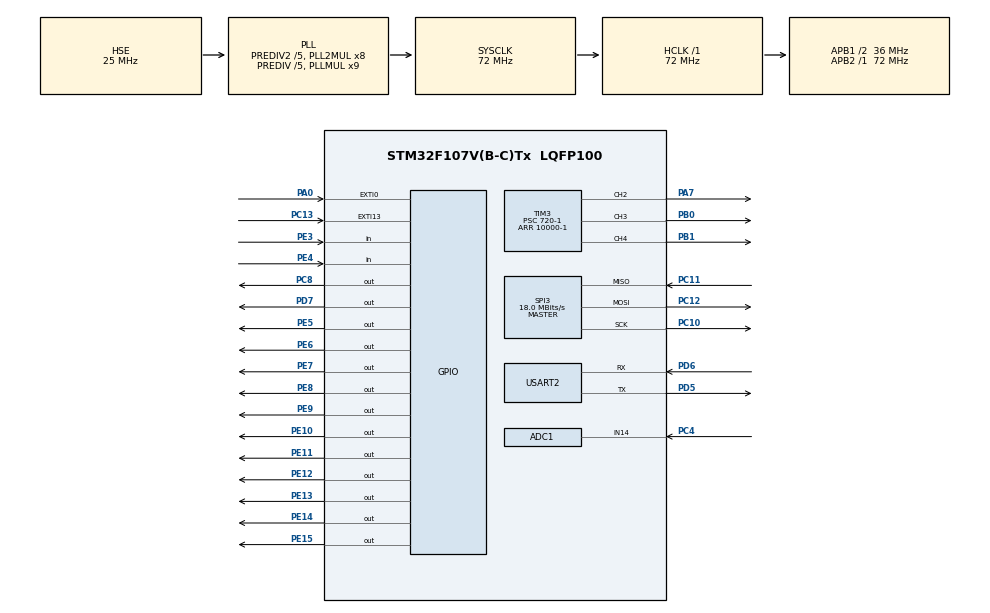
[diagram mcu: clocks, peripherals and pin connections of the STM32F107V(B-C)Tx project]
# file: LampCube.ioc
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ADC1.Channel-0\#ChannelRegularConversion=ADC_CHANNEL_14
ADC1.ContinuousConvMode=ENABLE
ADC1.NbrOfConversionFlag=1
ADC1.Rank-0\#ChannelRegularConversion=1
ADC1.SamplingTime-0\#ChannelRegularConversion=ADC_SAMPLETIME_1CYCLE_5
ADC1.master=1
Mcu.Family=STM32F1
Mcu.Name=STM32F107V(B-C)Tx
Mcu.Package=LQFP100
NVIC.EXTI0_IRQn=true\:0\:0\:true\:false\:true\:true
NVIC.EXTI15_10_IRQn=true\:1\:0\:true\:false\:true\:true
NVIC.PriorityGroup=NVIC_PRIORITYGROUP_4
OSC_IN.Mode=HSE-External-Oscillator
OSC_IN.Signal=RCC_OSC_IN
OSC_OUT.Mode=HSE-External-Oscillator
OSC_OUT.Signal=RCC_OSC_OUT
PA0-WKUP.Signal=GPXTI0
PA7.GPIO_Speed=GPIO_SPEED_FREQ_HIGH
PA7.Signal=S_TIM3_CH2
PB0.GPIO_Speed=GPIO_SPEED_FREQ_HIGH
PB0.Signal=S_TIM3_CH3
PB1.GPIO_Speed=GPIO_SPEED_FREQ_HIGH
PB1.Signal=S_TIM3_CH4
PC10.Mode=Full_Duplex_Master
PC10.Signal=SPI3_SCK
PC11.Mode=Full_Duplex_Master
PC11.Signal=SPI3_MISO
PC12.Mode=Full_Duplex_Master
PC12.Signal=SPI3_MOSI
PC13-TAMPER-RTC.Signal=GPXTI13
PC4.Signal=ADCx_IN14
PC8.Signal=GPIO_Output
PD5.Mode=Asynchronous
PD5.Signal=USART2_TX
PD6.Mode=Asynchronous
PD6.Signal=USART2_RX
PD7.Signal=GPIO_Output
PE10.GPIO_Speed=GPIO_SPEED_FREQ_HIGH
PE10.Signal=GPIO_Output
PE11.GPIO_Speed=GPIO_SPEED_FREQ_HIGH
PE11.Signal=GPIO_Output
PE12.GPIO_Speed=GPIO_SPEED_FREQ_HIGH
PE12.Signal=GPIO_Output
PE13.GPIO_Speed=GPIO_SPEED_FREQ_HIGH
PE13.Signal=GPIO_Output
PE14.GPIO_Speed=GPIO_SPEED_FREQ_HIGH
PE14.Signal=GPIO_Output
PE15.GPIO_Speed=GPIO_SPEED_FREQ_HIGH
PE15.Signal=GPIO_Output
PE3.Signal=GPIO_Input
PE4.Signal=GPIO_Input
PE5.Signal=GPIO_Output
PE6.Signal=GPIO_Output
PE7.Signal=GPIO_Output
PE8.GPIO_Speed=GPIO_SPEED_FREQ_HIGH
PE8.Signal=GPIO_Output
PE9.GPIO_Speed=GPIO_SPEED_FREQ_HIGH
PE9.Signal=GPIO_Output
ProjectManager.HeapSize=0x200
ProjectManager.StackSize=0x400
ProjectManager.TargetToolchain=MDK-ARM V5
RCC.ADCPresc=RCC_ADCPCLK2_DIV6
RCC.AHBFreq_Value=72000000
RCC.APB1CLKDivider=RCC_HCLK_DIV2
RCC.APB1Freq_Value=36000000
RCC.APB1TimFreq_Value=72000000
RCC.APB2Freq_Value=72000000
RCC.APB2TimFreq_Value=72000000
RCC.HCLKFreq_Value=72000000
RCC.HSEDivPLL=RCC_HSE_PREDIV_DIV5
RCC.HSE_VALUE=25000000
RCC.PLLMUL=RCC_PLL_MUL9
RCC.PLLSourceVirtual=RCC_PLLSOURCE_HSE
RCC.Prediv1Source=RCC_PREDIV1_SOURCE_PLL2
RCC.Prediv2=RCC_HSE_PREDIV2_DIV5
RCC.SYSCLKFreq_VALUE=72000000
RCC.SYSCLKSource=RCC_SYSCLKSOURCE_PLLCLK
RCC.USBFreq_Value=48000000
SH.ADCx_IN14.0=ADC1_IN14,IN14
SH.S_TIM3_CH2.0=TIM3_CH2,PWM Generation2 CH2
SH.S_TIM3_CH3.0=TIM3_CH3,PWM Generation3 CH3
SH.S_TIM3_CH4.0=TIM3_CH4,PWM Generation4 CH4
SPI3.CLKPhase=SPI_PHASE_2EDGE
SPI3.CLKPolarity=SPI_POLARITY_HIGH
SPI3.CalculateBaudRate=18.0 MBits/s
SPI3.Direction=SPI_DIRECTION_2LINES
SPI3.Mode=SPI_MODE_MASTER
SPI3.VirtualType=VM_MASTER
TIM3.Channel-PWM\ Generation2\ CH2=TIM_CHANNEL_2
TIM3.Channel-PWM\ Generation3\ CH3=TIM_CHANNEL_3
TIM3.Channel-PWM\ Generation4\ CH4=TIM_CHANNEL_4
TIM3.Period=10000-1
TIM3.Prescaler=720-1
TIM3.Pulse-PWM\ Generation2\ CH2=(10000-1)/2
TIM3.Pulse-PWM\ Generation3\ CH3=(10000-1)/2
TIM3.Pulse-PWM\ Generation4\ CH4=(10000-1)/2
USART2.VirtualMode=VM_ASYNC
VP_SYS_VS_ND.Mode=No_Debug
VP_TIM3_VS_ClockSourceINT.Mode=Internal
board=LampCube

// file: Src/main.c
/**
  ******************************************************************************
  * File Name          : main.c
  * Description        : Main program body
  ******************************************************************************
  ** This notice applies to any and all portions of this file
  * that are not between comment pairs USER CODE BEGIN and
  * USER CODE END. Other portions of this file, whether
  * inserted by the user or by software development tools
  * are owned by their respective copyright owners.
  *
  * COPYRIGHT(c) 2018 STMicroelectronics
  *
  * Redistribution and use in source and binary forms, with or without modification,
  * are permitted provided that the following conditions are met:
  *   1. Redistributions of source code must retain the above copyright notice,
  *      this list of conditions and the following disclaimer.
  *   2. Redistributions in binary form must reproduce the above copyright notice,
  *      this list of conditions and the following disclaimer in the documentation
  *      and/or other materials provided with the distribution.
  *   3. Neither the name of STMicroelectronics nor the names of its contributors
  *      may be used to endorse or promote products derived from this software
  *      without specific prior written permission.
  *
  * THIS SOFTWARE IS PROVIDED BY THE COPYRIGHT HOLDERS AND CONTRIBUTORS "AS IS"
  * AND ANY EXPRESS OR IMPLIED WARRANTIES, INCLUDING, BUT NOT LIMITED TO, THE
  * IMPLIED WARRANTIES OF MERCHANTABILITY AND FITNESS FOR A PARTICULAR PURPOSE ARE
  * DISCLAIMED. IN NO EVENT SHALL THE COPYRIGHT HOLDER OR CONTRIBUTORS BE LIABLE
  * FOR ANY DIRECT, INDIRECT, INCIDENTAL, SPECIAL, EXEMPLARY, OR CONSEQUENTIAL
  * DAMAGES (INCLUDING, BUT NOT LIMITED TO, PROCUREMENT OF SUBSTITUTE GOODS OR
  * SERVICES; LOSS OF USE, DATA, OR PROFITS; OR BUSINESS INTERRUPTION) HOWEVER
  * CAUSED AND ON ANY THEORY OF LIABILITY, WHETHER IN CONTRACT, STRICT LIABILITY,
  * OR TORT (INCLUDING NEGLIGENCE OR OTHERWISE) ARISING IN ANY WAY OUT OF THE USE
  * OF THIS SOFTWARE, EVEN IF ADVISED OF THE POSSIBILITY OF SUCH DAMAGE.
  *
  ******************************************************************************
  */

#include "main.h"
#include "stm32f1xx_hal.h"

/* USER CODE BEGIN Includes */
#include "et_stm32f_arm_kit_lcd.h"
#include <string.h>

#define PERIOD 10000

/* USER CODE END Includes */

ADC_HandleTypeDef hadc1;

SPI_HandleTypeDef hspi3;

TIM_HandleTypeDef htim3;

UART_HandleTypeDef huart2;

/* USER CODE BEGIN PV */
/* Private variables ---------------------------------------------------------*/
typedef struct {
	float r;	/* R : PA7 */
	float g;	/* G : PB0 */
	float b;	/* B : PB1 */
} RGB;

uint16_t led_hex[] = {0x0000, 0x0100, 0x0300, 0x0700, 0x0f00, 0x1f00, 0x3f00, 0x7f00, 0xff00};
uint16_t sw_mode = 0;

/* USER CODE END PV */

void SystemClock_Config(void);
static void MX_GPIO_Init(void);
static void MX_USART2_UART_Init(void);
static void MX_ADC1_Init(void);
static void MX_SPI3_Init(void);
static void MX_TIM3_Init(void);

void HAL_TIM_MspPostInit(TIM_HandleTypeDef *htim);

/* USER CODE BEGIN PFP */
/* Private function prototypes -----------------------------------------------*/
void delay(uint32_t ms);
void RGB_PWM(RGB*, uint32_t);
void UART_TRAN(char*);

/* USER CODE END PFP */

int main(void)
{

  /* MCU Configuration----------------------------------------------------------*/

  /* Reset of all peripherals, Initializes the Flash interface and the Systick. */
  HAL_Init();

  /* USER CODE BEGIN Init */
	char str[80];
	RGB color;
	RGB rgb = {1,1,1};

	volatile uint16_t fsr_val;	/* Force Sensitive Resistor : PC5 */
	uint16_t fsr_level;
	uint16_t fsr_max = 0;
	uint16_t col_drive = 5;
	uint16_t feq_drive = 5;

	uint16_t posX, posY;
	uint32_t pwm_delay = 1;

  /* USER CODE END Init */

  /* Configure the system clock */
  SystemClock_Config();

  /* Initialize all configured peripherals */
  MX_GPIO_Init();
  MX_USART2_UART_Init();
  MX_ADC1_Init();
  MX_SPI3_Init();
  MX_TIM3_Init();

  /* USER CODE BEGIN 2 */
	HAL_ADCEx_Calibration_Start(&hadc1);
	HAL_ADC_Start(&hadc1);

	LCD_SetBackColor(Yellow);

	LCD_Setup();
	LCD_Clear(Black);
		LCD_SetTextColor(White);
  LCD_DrawRect(0, 0, 80, 106);
		LCD_SetTextColor(Green);
	LCD_DrawRect(80, 0, 80, 106);
		LCD_SetTextColor(Blue);
	LCD_DrawRect(160, 0, 80, 106);
		LCD_SetTextColor(Magenta);
	LCD_DrawRect(0, 106, 80, 106);
		LCD_SetTextColor(Yellow);
	LCD_DrawRect(80, 106, 80, 106);
		LCD_SetTextColor(Green2);
	LCD_DrawRect(160, 106, 80, 106);
		LCD_SetTextColor(Blue2);
	LCD_DrawRect(0, 212, 80, 106);
		LCD_SetTextColor(Cyan);
	LCD_DrawRect(80, 212, 80, 106);
		LCD_SetTextColor(Red);
	LCD_DrawRect(160, 212, 80, 106);

  /* USER CODE END 2 */

  /* Infinite loop */
  while (1)
  {

  /* USER CODE BEGIN 3 */

	/* READ COLOR FROM LCD */
	posX = TCS_Read_X();
	posY = TCS_Read_Y();

		if(posX!=0&&posY!=0){
				if(posX<=106&&posY<=80){
					//magenta
					color.r = 1;
					color.g = 0;
					color.b = 0.5;
				}
				if(posX>106&&posX<=212&&posY<=80){
					//blue2
					color.r = 0;
					color.g = 0;
					color.b = 0.8;
}
				if(posX>212&&posY<=80){
					//white
					color.r = 1;
					color.g = 1;
					color.b = 1;
}
				if(posX<=106&&posY>80&&posY<=160){
					//yellow
					color.r = 1;
					color.g = 1;
					color.b = 0;
				}
				if(posX>106&&posX<=212&&posY>80&&posY<=160){
					//cyan
					color.r = 0;
					color.g = 0;
					color.b = 0.5;
				}
				if(posX>212&&posY>80&&posY<=160){
					//green
					color.r = 0;
					color.g = 1;
					color.b = 0;
				}
				if(posX<=106&&posY>160){
					//green2
					color.r = 0.8;
					color.g = 0;
					color.b = 0.8;
				}
				if(posX>106&&posX<=212&&posY>160){
					//red
					color.r = 1;
					color.g = 0;
					color.b = 0;
				}
				if(posX>212&&posY>160){
					//blue
					color.r = 0;
					color.g = 0;
					color.b = 1;
				}

			}
	/* READ BRIGHTNESS FROM IRD */
	while ( HAL_ADC_PollForConversion(&hadc1, 100) != HAL_OK ) {}
	fsr_val = HAL_ADC_GetValue(&hadc1);

	fsr_level = fsr_val / ((4096/9)+1);

	if (sw_mode == 0) {
		if (fsr_level > 0 && fsr_max < fsr_level) {
			fsr_max = fsr_level;
		} else if (fsr_level == 0 && fsr_max != 0) {
			col_drive = fsr_max;
			if (col_drive > 5) {
				col_drive = 5;
			}
			fsr_max = 0;
		}

		GPIOE->ODR =  led_hex[ (fsr_max == 0) ? col_drive : fsr_level ];
	} else {

		if (fsr_level > 0 && fsr_max < fsr_level) {
			fsr_max = fsr_level;
		} else if (fsr_level == 0 && fsr_max != 0) {
			feq_drive = fsr_max;
			if (feq_drive > 5) {
				feq_drive = 5;
			}
			fsr_max = 0;
		}

		GPIOE->ODR =  led_hex[ (fsr_max == 0) ? feq_drive : fsr_level ];
	}

	rgb.r = color.r * (col_drive/5.0);
	rgb.g = color.g * (col_drive/5.0);
	rgb.b = color.b * (col_drive/5.0);

	switch (feq_drive) {
		case 1 :
			pwm_delay = 1;
		break;
		case 2 :
			pwm_delay = 4;
		break;
		case 3 :
			pwm_delay = 8;
		break;
		case 4 :
			pwm_delay = 16;
		break;
		case 5 :
			pwm_delay = 32;
		break;
	}

	RGB_PWM(&rgb, pwm_delay);

	sprintf(str, "R:%4.2f, G:%4.2f, B:%4.2f, Mode: %d, col_drive: %d, feq_drive: %d, Level:%1d, posX %d, posY %d.\r\n", rgb.r, rgb.g, rgb.b, sw_mode, col_drive, feq_drive, fsr_level, posX,posY);
	UART_TRAN(str);
  }
  /* USER CODE END 3 */

}

/** System Clock Configuration
*/
void SystemClock_Config(void)
{

  RCC_OscInitTypeDef RCC_OscInitStruct;
  RCC_ClkInitTypeDef RCC_ClkInitStruct;
  RCC_PeriphCLKInitTypeDef PeriphClkInit;

    /**Initializes the CPU, AHB and APB busses clocks
    */
  RCC_OscInitStruct.OscillatorType = RCC_OSCILLATORTYPE_HSE;
  RCC_OscInitStruct.HSEState = RCC_HSE_ON;
  RCC_OscInitStruct.HSEPredivValue = RCC_HSE_PREDIV_DIV5;
  RCC_OscInitStruct.HSIState = RCC_HSI_ON;
  RCC_OscInitStruct.Prediv1Source = RCC_PREDIV1_SOURCE_PLL2;
  RCC_OscInitStruct.PLL.PLLState = RCC_PLL_ON;
  RCC_OscInitStruct.PLL.PLLSource = RCC_PLLSOURCE_HSE;
  RCC_OscInitStruct.PLL.PLLMUL = RCC_PLL_MUL9;
  RCC_OscInitStruct.PLL2.PLL2State = RCC_PLL2_ON;
  RCC_OscInitStruct.PLL2.PLL2MUL = RCC_PLL2_MUL8;
  RCC_OscInitStruct.PLL2.HSEPrediv2Value = RCC_HSE_PREDIV2_DIV5;
  if (HAL_RCC_OscConfig(&RCC_OscInitStruct) != HAL_OK)
  {
    _Error_Handler(__FILE__, __LINE__);
  }

    /**Initializes the CPU, AHB and APB busses clocks
    */
  RCC_ClkInitStruct.ClockType = RCC_CLOCKTYPE_HCLK|RCC_CLOCKTYPE_SYSCLK
                              |RCC_CLOCKTYPE_PCLK1|RCC_CLOCKTYPE_PCLK2;
  RCC_ClkInitStruct.SYSCLKSource = RCC_SYSCLKSOURCE_PLLCLK;
  RCC_ClkInitStruct.AHBCLKDivider = RCC_SYSCLK_DIV1;
  RCC_ClkInitStruct.APB1CLKDivider = RCC_HCLK_DIV2;
  RCC_ClkInitStruct.APB2CLKDivider = RCC_HCLK_DIV1;

  if (HAL_RCC_ClockConfig(&RCC_ClkInitStruct, FLASH_LATENCY_2) != HAL_OK)
  {
    _Error_Handler(__FILE__, __LINE__);
  }

  PeriphClkInit.PeriphClockSelection = RCC_PERIPHCLK_ADC;
  PeriphClkInit.AdcClockSelection = RCC_ADCPCLK2_DIV6;
  if (HAL_RCCEx_PeriphCLKConfig(&PeriphClkInit) != HAL_OK)
  {
    _Error_Handler(__FILE__, __LINE__);
  }

    /**Configure the Systick interrupt time
    */
  HAL_SYSTICK_Config(HAL_RCC_GetHCLKFreq()/1000);

    /**Configure the Systick
    */
  HAL_SYSTICK_CLKSourceConfig(SYSTICK_CLKSOURCE_HCLK);

    /**Configure the Systick interrupt time
    */
  __HAL_RCC_PLLI2S_ENABLE();

  /* SysTick_IRQn interrupt configuration */
  HAL_NVIC_SetPriority(SysTick_IRQn, 0, 0);
}

/* ADC1 init function */
static void MX_ADC1_Init(void)
{

  ADC_ChannelConfTypeDef sConfig;

    /**Common config
    */
  hadc1.Instance = ADC1;
  hadc1.Init.ScanConvMode = ADC_SCAN_DISABLE;
  hadc1.Init.ContinuousConvMode = ENABLE;
  hadc1.Init.DiscontinuousConvMode = DISABLE;
  hadc1.Init.ExternalTrigConv = ADC_SOFTWARE_START;
  hadc1.Init.DataAlign = ADC_DATAALIGN_RIGHT;
  hadc1.Init.NbrOfConversion = 1;
  if (HAL_ADC_Init(&hadc1) != HAL_OK)
  {
    _Error_Handler(__FILE__, __LINE__);
  }

    /**Configure Regular Channel
    */
  sConfig.Channel = ADC_CHANNEL_14;
  sConfig.Rank = 1;
  sConfig.SamplingTime = ADC_SAMPLETIME_1CYCLE_5;
  if (HAL_ADC_ConfigChannel(&hadc1, &sConfig) != HAL_OK)
  {
    _Error_Handler(__FILE__, __LINE__);
  }

}

/* SPI3 init function */
static void MX_SPI3_Init(void)
{

  /* SPI3 parameter configuration*/
  hspi3.Instance = SPI3;
  hspi3.Init.Mode = SPI_MODE_MASTER;
  hspi3.Init.Direction = SPI_DIRECTION_2LINES;
  hspi3.Init.DataSize = SPI_DATASIZE_8BIT;
  hspi3.Init.CLKPolarity = SPI_POLARITY_HIGH;
  hspi3.Init.CLKPhase = SPI_PHASE_2EDGE;
  hspi3.Init.NSS = SPI_NSS_SOFT;
  hspi3.Init.BaudRatePrescaler = SPI_BAUDRATEPRESCALER_2;
  hspi3.Init.FirstBit = SPI_FIRSTBIT_MSB;
  hspi3.Init.TIMode = SPI_TIMODE_DISABLE;
  hspi3.Init.CRCCalculation = SPI_CRCCALCULATION_DISABLE;
  hspi3.Init.CRCPolynomial = 10;
  if (HAL_SPI_Init(&hspi3) != HAL_OK)
  {
    _Error_Handler(__FILE__, __LINE__);
  }

}

/* TIM3 init function */
static void MX_TIM3_Init(void)
{

  TIM_ClockConfigTypeDef sClockSourceConfig;
  TIM_MasterConfigTypeDef sMasterConfig;
  TIM_OC_InitTypeDef sConfigOC;

  htim3.Instance = TIM3;
  htim3.Init.Prescaler = 720-1;
  htim3.Init.CounterMode = TIM_COUNTERMODE_UP;
  htim3.Init.Period = 10000-1;
  htim3.Init.ClockDivision = TIM_CLOCKDIVISION_DIV1;
  htim3.Init.AutoReloadPreload = TIM_AUTORELOAD_PRELOAD_DISABLE;
  if (HAL_TIM_Base_Init(&htim3) != HAL_OK)
  {
    _Error_Handler(__FILE__, __LINE__);
  }

  sClockSourceConfig.ClockSource = TIM_CLOCKSOURCE_INTERNAL;
  if (HAL_TIM_ConfigClockSource(&htim3, &sClockSourceConfig) != HAL_OK)
  {
    _Error_Handler(__FILE__, __LINE__);
  }

  if (HAL_TIM_PWM_Init(&htim3) != HAL_OK)
  {
    _Error_Handler(__FILE__, __LINE__);
  }

  sMasterConfig.MasterOutputTrigger = TIM_TRGO_RESET;
  sMasterConfig.MasterSlaveMode = TIM_MASTERSLAVEMODE_DISABLE;
  if (HAL_TIMEx_MasterConfigSynchronization(&htim3, &sMasterConfig) != HAL_OK)
  {
    _Error_Handler(__FILE__, __LINE__);
  }

  sConfigOC.OCMode = TIM_OCMODE_PWM1;
  sConfigOC.Pulse = (10000-1)/2;
  sConfigOC.OCPolarity = TIM_OCPOLARITY_HIGH;
  sConfigOC.OCFastMode = TIM_OCFAST_DISABLE;
  if (HAL_TIM_PWM_ConfigChannel(&htim3, &sConfigOC, TIM_CHANNEL_2) != HAL_OK)
  {
    _Error_Handler(__FILE__, __LINE__);
  }

  if (HAL_TIM_PWM_ConfigChannel(&htim3, &sConfigOC, TIM_CHANNEL_3) != HAL_OK)
  {
    _Error_Handler(__FILE__, __LINE__);
  }

  if (HAL_TIM_PWM_ConfigChannel(&htim3, &sConfigOC, TIM_CHANNEL_4) != HAL_OK)
  {
    _Error_Handler(__FILE__, __LINE__);
  }

  HAL_TIM_MspPostInit(&htim3);

}

/* USART2 init function */
static void MX_USART2_UART_Init(void)
{

  huart2.Instance = USART2;
  huart2.Init.BaudRate = 115200;
  huart2.Init.WordLength = UART_WORDLENGTH_8B;
  huart2.Init.StopBits = UART_STOPBITS_1;
  huart2.Init.Parity = UART_PARITY_NONE;
  huart2.Init.Mode = UART_MODE_TX_RX;
  huart2.Init.HwFlowCtl = UART_HWCONTROL_NONE;
  huart2.Init.OverSampling = UART_OVERSAMPLING_16;
  if (HAL_UART_Init(&huart2) != HAL_OK)
  {
    _Error_Handler(__FILE__, __LINE__);
  }

}

/** Configure pins as
        * Analog
        * Input
        * Output
        * EVENT_OUT
        * EXTI
*/
static void MX_GPIO_Init(void)
{

  GPIO_InitTypeDef GPIO_InitStruct;

  /* GPIO Ports Clock Enable */
  __HAL_RCC_GPIOE_CLK_ENABLE();
  __HAL_RCC_GPIOC_CLK_ENABLE();
  __HAL_RCC_GPIOA_CLK_ENABLE();
  __HAL_RCC_GPIOB_CLK_ENABLE();
  __HAL_RCC_GPIOD_CLK_ENABLE();

  /*Configure GPIO pin Output Level */
  HAL_GPIO_WritePin(GPIOE, GPIO_PIN_5|GPIO_PIN_6|GPIO_PIN_7|GPIO_PIN_8
                          |GPIO_PIN_9|GPIO_PIN_10|GPIO_PIN_11|GPIO_PIN_12
                          |GPIO_PIN_13|GPIO_PIN_14|GPIO_PIN_15, GPIO_PIN_RESET);

  /*Configure GPIO pin Output Level */
  HAL_GPIO_WritePin(GPIOC, GPIO_PIN_8, GPIO_PIN_RESET);

  /*Configure GPIO pin Output Level */
  HAL_GPIO_WritePin(GPIOD, GPIO_PIN_7, GPIO_PIN_RESET);

  /*Configure GPIO pins : PE3 PE4 */
  GPIO_InitStruct.Pin = GPIO_PIN_3|GPIO_PIN_4;
  GPIO_InitStruct.Mode = GPIO_MODE_INPUT;
  GPIO_InitStruct.Pull = GPIO_NOPULL;
  HAL_GPIO_Init(GPIOE, &GPIO_InitStruct);

  /*Configure GPIO pins : PE5 PE6 PE7 */
  GPIO_InitStruct.Pin = GPIO_PIN_5|GPIO_PIN_6|GPIO_PIN_7;
  GPIO_InitStruct.Mode = GPIO_MODE_OUTPUT_PP;
  GPIO_InitStruct.Speed = GPIO_SPEED_FREQ_LOW;
  HAL_GPIO_Init(GPIOE, &GPIO_InitStruct);

  /*Configure GPIO pin : PC13 */
  GPIO_InitStruct.Pin = GPIO_PIN_13;
  GPIO_InitStruct.Mode = GPIO_MODE_IT_RISING;
  GPIO_InitStruct.Pull = GPIO_NOPULL;
  HAL_GPIO_Init(GPIOC, &GPIO_InitStruct);

  /*Configure GPIO pin : PA0 */
  GPIO_InitStruct.Pin = GPIO_PIN_0;
  GPIO_InitStruct.Mode = GPIO_MODE_IT_RISING;
  GPIO_InitStruct.Pull = GPIO_NOPULL;
  HAL_GPIO_Init(GPIOA, &GPIO_InitStruct);

  /*Configure GPIO pins : PE8 PE9 PE10 PE11
                           PE12 PE13 PE14 PE15 */
  GPIO_InitStruct.Pin = GPIO_PIN_8|GPIO_PIN_9|GPIO_PIN_10|GPIO_PIN_11
                          |GPIO_PIN_12|GPIO_PIN_13|GPIO_PIN_14|GPIO_PIN_15;
  GPIO_InitStruct.Mode = GPIO_MODE_OUTPUT_PP;
  GPIO_InitStruct.Speed = GPIO_SPEED_FREQ_HIGH;
  HAL_GPIO_Init(GPIOE, &GPIO_InitStruct);

  /*Configure GPIO pin : PC8 */
  GPIO_InitStruct.Pin = GPIO_PIN_8;
  GPIO_InitStruct.Mode = GPIO_MODE_OUTPUT_PP;
  GPIO_InitStruct.Speed = GPIO_SPEED_FREQ_LOW;
  HAL_GPIO_Init(GPIOC, &GPIO_InitStruct);

  /*Configure GPIO pin : PD7 */
  GPIO_InitStruct.Pin = GPIO_PIN_7;
  GPIO_InitStruct.Mode = GPIO_MODE_OUTPUT_PP;
  GPIO_InitStruct.Speed = GPIO_SPEED_FREQ_LOW;
  HAL_GPIO_Init(GPIOD, &GPIO_InitStruct);

  /* EXTI interrupt init*/
  HAL_NVIC_SetPriority(EXTI0_IRQn, 0, 0);
  HAL_NVIC_EnableIRQ(EXTI0_IRQn);

  HAL_NVIC_SetPriority(EXTI15_10_IRQn, 1, 0);
  HAL_NVIC_EnableIRQ(EXTI15_10_IRQn);

}

/* USER CODE BEGIN 4 */
void delay(uint32_t ms) {
	for (volatile uint32_t i=0; i<ms; ++i)
		for(volatile uint32_t j=0; j<8000; j++);
}

void RGB_PWM(RGB* rgb, uint32_t ms) {
	htim3.Instance->CCR2 = (PERIOD-1)*rgb->r;
	htim3.Instance->CCR3 = (PERIOD-1)*rgb->g;
	htim3.Instance->CCR4 = (PERIOD-1)*rgb->b;

	HAL_TIM_PWM_Start(&htim3, TIM_CHANNEL_2);
	HAL_TIM_PWM_Start(&htim3, TIM_CHANNEL_3);
	HAL_TIM_PWM_Start(&htim3, TIM_CHANNEL_4);
	delay(ms);
	HAL_TIM_PWM_Stop(&htim3, TIM_CHANNEL_2);
	HAL_TIM_PWM_Stop(&htim3, TIM_CHANNEL_3);
	HAL_TIM_PWM_Stop(&htim3, TIM_CHANNEL_4);
}

void UART_TRAN(char* str) {
	while(__HAL_UART_GET_FLAG(&huart2, UART_FLAG_TC) == RESET) {}
	HAL_UART_Transmit(&huart2, (uint8_t*)str, strlen(str), 100);
}

/* USER CODE END 4 */

void _Error_Handler(char * file, int line)
{
  while(1)
  {
  }
}

/************************ (C) COPYRIGHT STMicroelectronics *****END OF FILE****/
